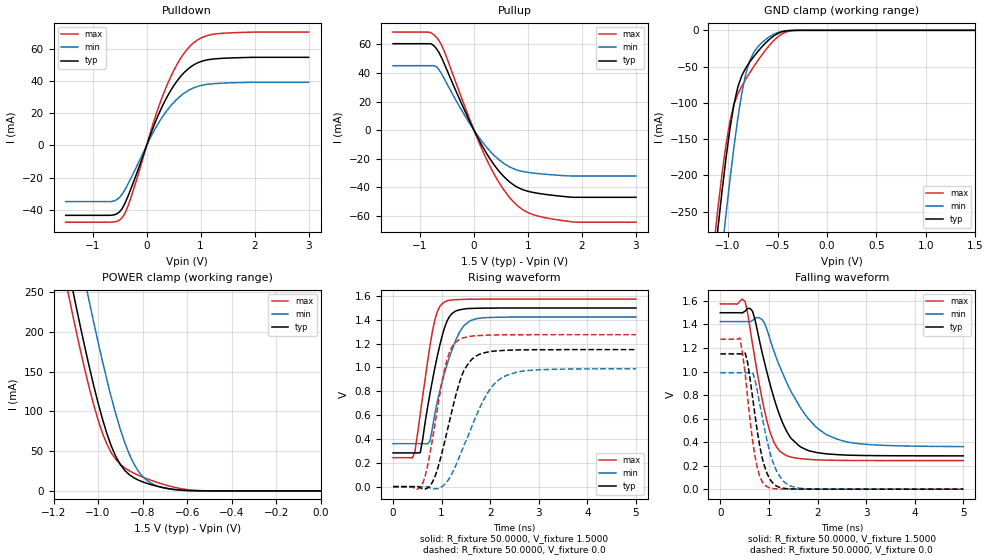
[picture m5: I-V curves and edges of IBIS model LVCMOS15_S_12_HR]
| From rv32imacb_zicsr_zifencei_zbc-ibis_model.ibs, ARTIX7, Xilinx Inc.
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[Model]  LVCMOS15_S_12_HR
Model_type I/O
Polarity   Non-Inverting
Enable   Active-Low
Vinl = 0.450
Vinh = 1.050
Vmeas =  0.7500V
Cref =   0.0F
Rref =   1.0000M
Vref =   0.0V
C_comp   7.6900pF   7.5100pF   7.7300pF
[Model Spec]
Vinl   0.450   0.4275   0.4725
Vinh   1.050   0.9975   1.1025
[Temperature Range]   25.0000   85.0000   0.0
[Voltage Range]   1.5000V   1.4250V   1.5750V
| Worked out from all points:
|   slope of the pulldown table from 0 to 0.225 V, typ, clamps not added: 11.5 ohm
|   slope of the pullup table from 0 to 0.225 V, typ, clamps not added: 14.3 ohm
|   GND clamp passes 1 mA (typ) near -0.42 V on its own axis
|   POWER clamp passes 1 mA (typ) near -0.63 V on its own axis
|   rising waveform, R_fixture 50.0000, V_fixture 1.5000: 20-80 % time 349ps typ, 430ps min, 287ps max; typ from 0.283 V to 1.5 V
|   rising waveform, R_fixture 50.0000, V_fixture 0.0: 20-80 % time 432ps typ, 640ps min, 334ps max; typ from 0 V to 1.15 V
|   falling waveform, R_fixture 50.0000, V_fixture 1.5000: 20-80 % time 516ps typ, 795ps min, 373ps max; typ from 1.5 V to 0.283 V
|   falling waveform, R_fixture 50.0000, V_fixture 0.0: 20-80 % time 268ps typ, 331ps min, 227ps max; typ from 1.15 V to 0 V
[Pulldown]
|Voltage   I(typ)   I(min)   I(max)
-1.5V     -43.36mA   -34.8mA    -47.61mA
-650mV    -43.29mA   -34.8mA    -47.56mA
-550mV    -42.41mA   -33.58mA   -47.07mA
-450mV    -38.97mA   -30.07mA   -44.72mA
-300mV    -27.62mA   -20.9mA    -33.2mA
150mV     13.6mA     9.904mA    16.77mA
350mV     28.35mA    20.51mA    35.28mA
650mV     43.63mA    31.3mA     55.12mA
900mV     50.54mA    36.15mA    64.5mA
1.1V      52.97mA    37.85mA    67.96mA
1.4V      54.07mA    38.67mA    69.62mA
3V        54.71mA    39.18mA    70.37mA
[Pullup]
|Voltage   I(typ)   I(min)   I(max)
-1.5V     60.56mA    45.16mA    68.69mA
-800mV    60.56mA    45.16mA    68.28mA
-700mV    57.33mA    44.64mA    65.25mA
-650mV    54.45mA    42.47mA    62.82mA
-550mV    46.46mA    35.99mA    55.22mA
-150mV    11.93mA    8.976mA    14.59mA
200mV     -14.18mA   -10.41mA   -17.75mA
550mV     -32.4mA    -23.22mA   -41.68mA
850mV     -40.83mA   -28.47mA   -54.23mA
1.15V     -44mA      -30.27mA   -59.77mA
1.8V      -46.92mA   -32.08mA   -64.12mA
3V        -47.04mA   -32.08mA   -64.45mA
[GND_clamp]
|Voltage   I(typ)   I(min)   I(max)
-1.5V     -843mA     -931.9mA   -809.3mA
-1.14V    -322.4mA   -408.3mA   -292.6mA
-1.1V     -270.7mA   -354.9mA   -243mA
-1.06V    -221.4mA   -303.2mA   -197.2mA
-1.02V    -175.8mA   -253.2mA   -157.1mA
-940mV    -102mA     -160.6mA   -102.2mA
-900mV    -77.8mA    -120.3mA   -87.39mA
-820mV    -51.79mA   -59.71mA   -67.23mA
-740mV    -36.2mA    -30.4mA    -50.04mA
-580mV    -12.24mA   -8.697mA   -20.45mA
-340mV    -90.8uA    -98.11uA   -316.7uA
1.5V      811.2pA    94.74nA    7.033nA
[POWER_clamp]
|Voltage   I(typ)   I(min)   I(max)
-1.5V     827.8mA    915mA      794.3mA
-1.14V    289.1mA    376.9mA    257mA
-1.12V    261.4mA    348.5mA    229.8mA
-1.1V     234.2mA    320.5mA    203.4mA
-1.04V    156.9mA    239mA      130.2mA
-980mV    90.26mA    163mA      72.57mA
-940mV    56.11mA    117.3mA    47.74mA
-900mV    33.23mA    77.6mA     33.5mA
-840mV    16.69mA    34.5mA     22.47mA
-780mV    9.474mA    13.13mA    15.27mA
-680mV    2.78mA     2.426mA    6.171mA
0V        0A         0A         0A
[Ramp]
| variable   typ   min   max
dV/dt_r  0.6900/0.4323n   0.5935/0.6302n   0.7650/0.3337n
dV/dt_f  0.7301/0.5159n   0.6378/0.7848n   0.7993/0.3728n
R_load = 50.0000
[Rising Waveform]
R_fixture= 50.0000
V_fixture= 1.5000
V_fixture_min= 1.4250
V_fixture_max= 1.5750
|time   V(typ)   V(min)   V(max)
0s        283mV      360.7mV    242.9mV
400ps     283mV      360.7mV    241.1mV
450ps     283mV      360.7mV    294.2mV
560ps     285.2mV    360.7mV    610.4mV
760ps     779mV      382.2mV    1.181V
860ps     994.2mV    609.1mV    1.398V
1.06ns    1.333V     954mV      1.55V
1.36ns    1.483V     1.289V     1.57V
1.67ns    1.496V     1.404V     1.573V
5ns       1.499V     1.424V     1.574V
[Rising Waveform]
R_fixture= 50.0000
V_fixture= 0.0
|time   V(typ)   V(min)   V(max)
0s        0V         0V         0V
610ps     -20.22mV   -31.08uV   26.5mV
860ps     81.08mV    -18.99mV   517.7mV
1.11ns    458.7mV    41.12mV    1.066V
1.31ns    792.9mV    194.9mV    1.22V
1.46ns    976mV      346.1mV    1.25V
1.62ns    1.068V     502.7mV    1.263V
1.97ns    1.131V     802mV      1.272V
2.32ns    1.144V     930.3mV    1.274V
5ns       1.15V      989.1mV    1.275V
[Falling Waveform]
R_fixture= 50.0000
V_fixture= 1.5000
V_fixture_min= 1.4250
V_fixture_max= 1.5750
|time   V(typ)   V(min)   V(max)
0s        1.5V       1.425V     1.575V
510ps     1.514V     1.425V     1.593V
660ps     1.514V     1.434V     1.236V
860ps     1.159V     1.442V     762.7mV
960ps     991.1mV    1.355V     577mV
1.11ns    765.1mV    1.165V     391.5mV
1.31ns    538mV      958.2mV    297.9mV
1.82ns    327.1mV    594.9mV    253.2mV
2.42ns    293.2mV    422.5mV    245mV
5ns       283.1mV    362mV      242.9mV
[Falling Waveform]
R_fixture= 50.0000
V_fixture= 0.0
|time   V(typ)   V(min)   V(max)
0s        1.15V      990mV      1.275V
400ps     1.15V      990mV      1.285V
510ps     1.157V     990mV      983.8mV
560ps     1.079V     990.1mV    783.3mV
710ps     636.1mV    936.4mV    286.6mV
810ps     369.7mV    725.2mV    107.9mV
960ps     135.4mV    413.3mV    20.71mV
1.21ns    16.14mV    116.6mV    1.484mV
1.57ns    1.213mV    11.45mV    522uV
5ns       40.84uV    75.6uV     29.97uV
